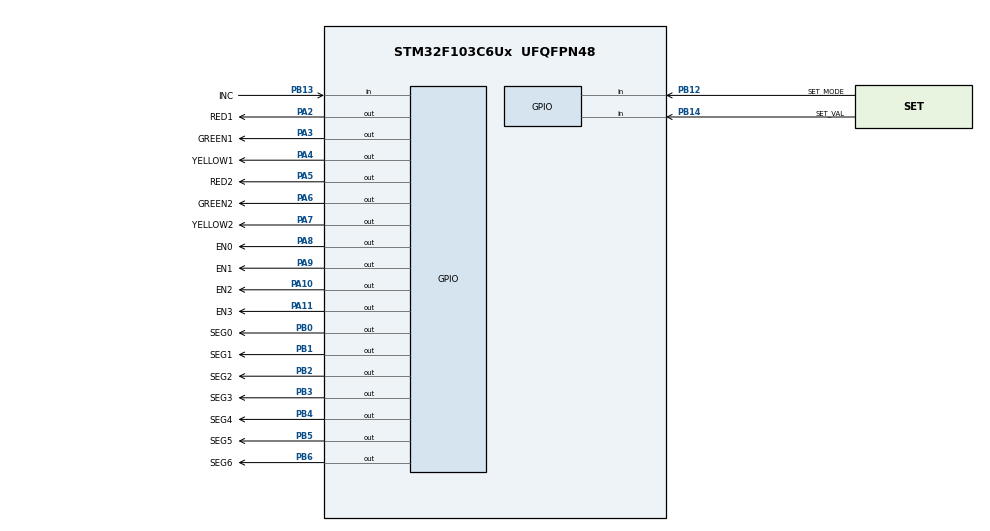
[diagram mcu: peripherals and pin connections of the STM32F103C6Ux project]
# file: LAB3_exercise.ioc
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Mcu.Family=STM32F1
Mcu.Name=STM32F103C6Ux
Mcu.Package=UFQFPN48
NVIC.PriorityGroup=NVIC_PRIORITYGROUP_4
NVIC.TIM2_IRQn=true\:0\:0\:false\:false\:true\:true\:true
PA10.GPIO_Label=EN2
PA10.PinState=GPIO_PIN_SET
PA10.Signal=GPIO_Output
PA11.GPIO_Label=EN3
PA11.PinState=GPIO_PIN_SET
PA11.Signal=GPIO_Output
PA2.GPIO_Label=RED1
PA2.PinState=GPIO_PIN_SET
PA2.Signal=GPIO_Output
PA3.GPIO_Label=GREEN1
PA3.PinState=GPIO_PIN_SET
PA3.Signal=GPIO_Output
PA4.GPIO_Label=YELLOW1
PA4.PinState=GPIO_PIN_SET
PA4.Signal=GPIO_Output
PA5.GPIO_Label=RED2
PA5.Signal=GPIO_Output
PA6.GPIO_Label=GREEN2
PA6.PinState=GPIO_PIN_SET
PA6.Signal=GPIO_Output
PA7.GPIO_Label=YELLOW2
PA7.PinState=GPIO_PIN_SET
PA7.Signal=GPIO_Output
PA8.GPIO_Label=EN0
PA8.PinState=GPIO_PIN_SET
PA8.Signal=GPIO_Output
PA9.GPIO_Label=EN1
PA9.PinState=GPIO_PIN_SET
PA9.Signal=GPIO_Output
PB0.GPIO_Label=SEG0
PB0.Signal=GPIO_Output
PB1.GPIO_Label=SEG1
PB1.Signal=GPIO_Output
PB12.GPIO_Label=SET_MODE
PB12.GPIO_PuPd=GPIO_PULLUP
PB12.Signal=GPIO_Input
PB13.GPIO_Label=INC
PB13.GPIO_PuPd=GPIO_PULLUP
PB13.Signal=GPIO_Input
PB14.GPIO_Label=SET_VAL
PB14.GPIO_PuPd=GPIO_PULLUP
PB14.Signal=GPIO_Input
PB2.GPIO_Label=SEG2
PB2.Signal=GPIO_Output
PB3.GPIO_Label=SEG3
PB3.Signal=GPIO_Output
PB4.GPIO_Label=SEG4
PB4.Signal=GPIO_Output
PB5.GPIO_Label=SEG5
PB5.Signal=GPIO_Output
PB6.GPIO_Label=SEG6
PB6.Signal=GPIO_Output
ProjectManager.HeapSize=0x200
ProjectManager.StackSize=0x400
ProjectManager.TargetToolchain=STM32CubeIDE
RCC.APB1Freq_Value=8000000
RCC.APB2Freq_Value=8000000
TIM2.Period=9
TIM2.Prescaler=7999
VP_SYS_VS_ND.Mode=No_Debug
VP_TIM2_VS_ClockSourceINT.Mode=Internal
board=custom

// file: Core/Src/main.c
/* USER CODE BEGIN Header */
/**
  ******************************************************************************
  * @file           : main.c
  * @brief          : Main program body
  ******************************************************************************
  * @attention
  *
  * <h2><center>&copy; Copyright (c) 2023 STMicroelectronics.
  * All rights reserved.</center></h2>
  *
  * This software component is licensed by ST under BSD 3-Clause license,
  * the "License"; You may not use this file except in compliance with the
  * License. You may obtain a copy of the License at:
  *                        opensource.org/licenses/BSD-3-Clause
  *
  ******************************************************************************
  */
/* USER CODE END Header */
#include "main.h"

/* USER CODE BEGIN Includes */
#include "fsm_traffic_light.h"
#include "fsm_manual.h"
#include "global.h"
/* USER CODE END Includes */

TIM_HandleTypeDef htim2;

void SystemClock_Config(void);
static void MX_GPIO_Init(void);
static void MX_TIM2_Init(void);

int main(void)
{

  /* MCU Configuration--------------------------------------------------------*/

  /* Reset of all peripherals, Initializes the Flash interface and the Systick. */
  HAL_Init();

  /* Configure the system clock */
  SystemClock_Config();

  /* Initialize all configured peripherals */
  MX_GPIO_Init();
  MX_TIM2_Init();
  /* USER CODE BEGIN 2 */
  HAL_TIM_Base_Start_IT(&htim2);

  setTimer3(1);
  setTimer4(1);
  timerRoad1 = r_val;
  timerRoad2 = g_val;

  SCH_Init();
  SCH_Add_Task(timerRun, 0, 1);
  SCH_Add_Task(getKeyInput, 0, 1);
  SCH_Add_Task(fsm_manual_run, 0, 1);
  SCH_Add_Task(fsm_traffic_light, 0, 1);
  SCH_Add_Task(updateLedBuffer,1,10);
  SCH_Add_Task(displaySignal, 1, 25);
  /* USER CODE END 2 */

  /* Infinite loop */
  /* USER CODE BEGIN WHILE */
  while (1)
  {
//	  if (timer4_flag == 1){
//		  setTimer4(25);
//		  displaySignal(index_led++);
//		  if (index_led >= 4) index_led=0;
//	  }
	  SCH_Dispatch_Tasks();
    /* USER CODE END WHILE */

  }
}

void SystemClock_Config(void)
{
  RCC_OscInitTypeDef RCC_OscInitStruct = {0};
  RCC_ClkInitTypeDef RCC_ClkInitStruct = {0};

  /** Initializes the RCC Oscillators according to the specified parameters
  * in the RCC_OscInitTypeDef structure.
  */
  RCC_OscInitStruct.OscillatorType = RCC_OSCILLATORTYPE_HSI;
  RCC_OscInitStruct.HSIState = RCC_HSI_ON;
  RCC_OscInitStruct.HSICalibrationValue = RCC_HSICALIBRATION_DEFAULT;
  RCC_OscInitStruct.PLL.PLLState = RCC_PLL_NONE;
  if (HAL_RCC_OscConfig(&RCC_OscInitStruct) != HAL_OK)
  {
    Error_Handler();
  }
  /** Initializes the CPU, AHB and APB buses clocks
  */
  RCC_ClkInitStruct.ClockType = RCC_CLOCKTYPE_HCLK|RCC_CLOCKTYPE_SYSCLK
                              |RCC_CLOCKTYPE_PCLK1|RCC_CLOCKTYPE_PCLK2;
  RCC_ClkInitStruct.SYSCLKSource = RCC_SYSCLKSOURCE_HSI;
  RCC_ClkInitStruct.AHBCLKDivider = RCC_SYSCLK_DIV1;
  RCC_ClkInitStruct.APB1CLKDivider = RCC_HCLK_DIV1;
  RCC_ClkInitStruct.APB2CLKDivider = RCC_HCLK_DIV1;

  if (HAL_RCC_ClockConfig(&RCC_ClkInitStruct, FLASH_LATENCY_0) != HAL_OK)
  {
    Error_Handler();
  }
}

static void MX_TIM2_Init(void)
{

  TIM_ClockConfigTypeDef sClockSourceConfig = {0};
  TIM_MasterConfigTypeDef sMasterConfig = {0};

  htim2.Instance = TIM2;
  htim2.Init.Prescaler = 7999;
  htim2.Init.CounterMode = TIM_COUNTERMODE_UP;
  htim2.Init.Period = 9;
  htim2.Init.ClockDivision = TIM_CLOCKDIVISION_DIV1;
  htim2.Init.AutoReloadPreload = TIM_AUTORELOAD_PRELOAD_DISABLE;
  if (HAL_TIM_Base_Init(&htim2) != HAL_OK)
  {
    Error_Handler();
  }
  sClockSourceConfig.ClockSource = TIM_CLOCKSOURCE_INTERNAL;
  if (HAL_TIM_ConfigClockSource(&htim2, &sClockSourceConfig) != HAL_OK)
  {
    Error_Handler();
  }
  sMasterConfig.MasterOutputTrigger = TIM_TRGO_RESET;
  sMasterConfig.MasterSlaveMode = TIM_MASTERSLAVEMODE_DISABLE;
  if (HAL_TIMEx_MasterConfigSynchronization(&htim2, &sMasterConfig) != HAL_OK)
  {
    Error_Handler();
  }

}

static void MX_GPIO_Init(void)
{
  GPIO_InitTypeDef GPIO_InitStruct = {0};

  /* GPIO Ports Clock Enable */
  __HAL_RCC_GPIOA_CLK_ENABLE();
  __HAL_RCC_GPIOB_CLK_ENABLE();

  /*Configure GPIO pin Output Level */
  HAL_GPIO_WritePin(GPIOA, RED1_Pin|GREEN1_Pin|YELLOW1_Pin|GREEN2_Pin
                          |YELLOW2_Pin|EN0_Pin|EN1_Pin|EN2_Pin
                          |EN3_Pin, GPIO_PIN_SET);

  /*Configure GPIO pin Output Level */
  HAL_GPIO_WritePin(RED2_GPIO_Port, RED2_Pin, GPIO_PIN_RESET);

  /*Configure GPIO pin Output Level */
  HAL_GPIO_WritePin(GPIOB, SEG0_Pin|SEG1_Pin|SEG2_Pin|SEG3_Pin
                          |SEG4_Pin|SEG5_Pin|SEG6_Pin, GPIO_PIN_RESET);

  /*Configure GPIO pins : RED1_Pin GREEN1_Pin YELLOW1_Pin RED2_Pin
                           GREEN2_Pin YELLOW2_Pin EN0_Pin EN1_Pin
                           EN2_Pin EN3_Pin */
  GPIO_InitStruct.Pin = RED1_Pin|GREEN1_Pin|YELLOW1_Pin|RED2_Pin
                          |GREEN2_Pin|YELLOW2_Pin|EN0_Pin|EN1_Pin
                          |EN2_Pin|EN3_Pin;
  GPIO_InitStruct.Mode = GPIO_MODE_OUTPUT_PP;
  GPIO_InitStruct.Pull = GPIO_NOPULL;
  GPIO_InitStruct.Speed = GPIO_SPEED_FREQ_LOW;
  HAL_GPIO_Init(GPIOA, &GPIO_InitStruct);

  /*Configure GPIO pins : SEG0_Pin SEG1_Pin SEG2_Pin SEG3_Pin
                           SEG4_Pin SEG5_Pin SEG6_Pin */
  GPIO_InitStruct.Pin = SEG0_Pin|SEG1_Pin|SEG2_Pin|SEG3_Pin
                          |SEG4_Pin|SEG5_Pin|SEG6_Pin;
  GPIO_InitStruct.Mode = GPIO_MODE_OUTPUT_PP;
  GPIO_InitStruct.Pull = GPIO_NOPULL;
  GPIO_InitStruct.Speed = GPIO_SPEED_FREQ_LOW;
  HAL_GPIO_Init(GPIOB, &GPIO_InitStruct);

  /*Configure GPIO pins : SET_MODE_Pin INC_Pin SET_VAL_Pin */
  GPIO_InitStruct.Pin = SET_MODE_Pin|INC_Pin|SET_VAL_Pin;
  GPIO_InitStruct.Mode = GPIO_MODE_INPUT;
  GPIO_InitStruct.Pull = GPIO_PULLUP;
  HAL_GPIO_Init(GPIOB, &GPIO_InitStruct);

}

/* USER CODE BEGIN 4 */
void HAL_TIM_PeriodElapsedCallback(TIM_HandleTypeDef *htim){
	SCH_Update();
}
/* USER CODE END 4 */

void Error_Handler(void)
{
  __disable_irq();
  while (1)
  {
  }
}

/************************ (C) COPYRIGHT STMicroelectronics *****END OF FILE****/
